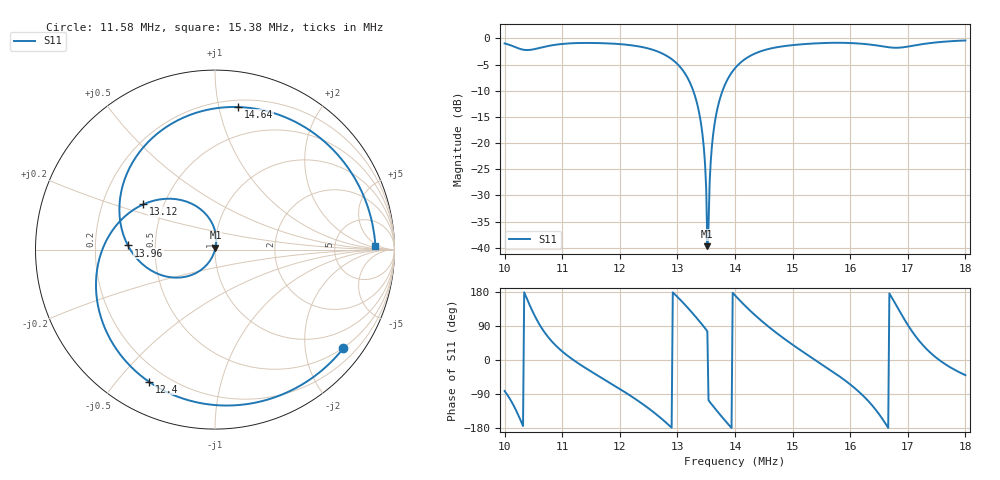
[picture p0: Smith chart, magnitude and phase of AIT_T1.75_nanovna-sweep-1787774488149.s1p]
! NanoVNA Web complex sweep
! Processing: original sample grid, no browser smoothing
# Hz S RI R 50
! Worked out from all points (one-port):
!   401 points, 10 MHz to 18 MHz, reference 50 ohm
!   lowest |S11| = -39.7 dB at 13.52 MHz (marker M1), VSWR 1.02, Z = 50.3 + j1 ohm
!   |S11| at or under -10 dB: 13.27 MHz to 13.78 MHz (509.4 kHz wide, 3.77 % of centre)
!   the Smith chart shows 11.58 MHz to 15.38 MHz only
!   S11 on the Smith chart (normalised r, x): 11.58 MHz: 0.48, -2.86; 12.4 MHz: 0.13, -0.61; 13.12 MHz: 0.38, +0.25; 13.96 MHz: 0.35, +0.02; 14.64 MHz: 0.25, +1.14; 15.38 MHz: 17, +3
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1e7  0.1284 -0.8847
1.018e7  -0.4983 -0.66
1.036e7  -0.7651 0.1154
1.05e7  -0.4343 0.6535
1.062e7  0.000616 0.8126
1.1e7  0.8154 0.3408
1.158e7  0.7146 -0.5506
1.2e7  0.2071 -0.8561
1.24e7  -0.3681 -0.7359
1.272e7  -0.6516 -0.3146
1.3e7  -0.5527 0.1319
1.312e7  -0.3991 0.2523
1.338e7  -0.0418 0.1867
1.352e7  0.00269 0.00999
1.368e7  -0.1333 -0.1426
1.396e7  -0.4852 0.023
1.4e7  -0.5111 0.0841
1.426e7  -0.4412 0.5148
1.464e7  0.1277 0.7942
1.5e7  0.6569 0.5574
1.538e7  0.8936 0.0186
1.6e7  0.3894 -0.8141
1.634e7  -0.3354 -0.8056
1.662e7  -0.815 -0.1511
1.678e7  -0.7005 0.4115
1.7e7  -0.0375 0.8331
1.74e7  0.8575 0.2813
1.8e7  0.7312 -0.6131
